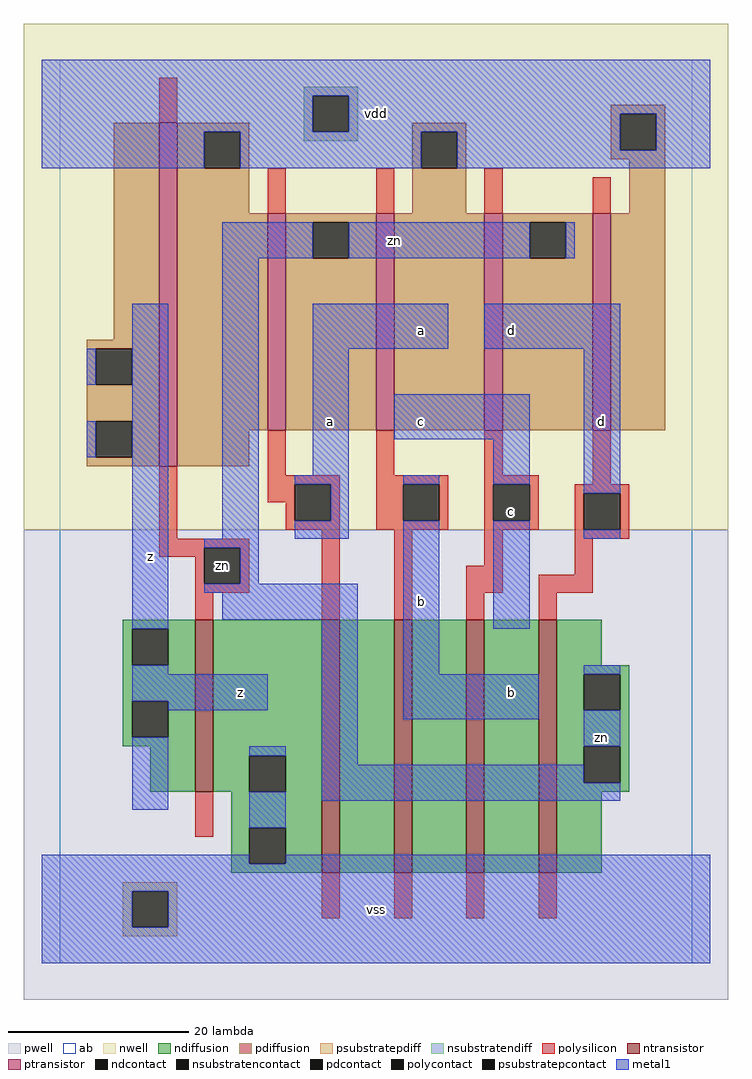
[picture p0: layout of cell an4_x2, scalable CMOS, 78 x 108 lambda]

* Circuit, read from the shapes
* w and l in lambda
.subckt an4_x2 a b c d vdd vss z zn
M1 vss zn z vss nfet w=19 l=2
M2 n1 a vss vss nfet w=28 l=2
M3 n2 b n1 vss nfet w=28 l=2
M4 n3 c n2 vss nfet w=28 l=2
M5 zn d n3 vss nfet w=28 l=2
M6 vdd zn z vdd pfet w=38 l=2
M7 zn a vdd vdd pfet w=24 l=2
M8 vdd b zn vdd pfet w=24 l=2
M9 zn c vdd vdd pfet w=24 l=2
M10 vdd d zn vdd pfet w=24 l=2
.ends

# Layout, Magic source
magic
tech scmos
<< ab >>
rect 0 0 70 100
<< pwell >>
rect -4 -4 74 48
<< nwell >>
rect -4 48 74 104
<< polysilicon >>
rect 11 93 13 98
rect 23 83 25 88
rect 35 83 37 88
rect 47 83 49 88
rect 59 83 61 87
rect 11 47 13 55
rect 23 54 25 59
rect 35 54 37 59
rect 47 54 49 59
rect 23 53 31 54
rect 23 51 26 53
rect 25 49 26 51
rect 30 49 31 53
rect 25 48 31 49
rect 35 53 43 54
rect 35 49 38 53
rect 42 49 43 53
rect 35 48 43 49
rect 47 53 53 54
rect 59 53 61 59
rect 47 49 48 53
rect 52 49 53 53
rect 47 48 53 49
rect 57 52 63 53
rect 57 48 58 52
rect 62 48 63 52
rect 11 46 21 47
rect 11 45 16 46
rect 15 42 16 45
rect 20 42 21 46
rect 15 41 21 42
rect 15 38 17 41
rect 29 38 31 48
rect 37 38 39 48
rect 47 44 49 48
rect 45 41 49 44
rect 57 47 63 48
rect 57 43 59 47
rect 53 41 59 43
rect 45 38 47 41
rect 53 38 55 41
rect 15 14 17 19
rect 29 5 31 10
rect 37 5 39 10
rect 45 5 47 10
rect 53 5 55 10
<< ndiffusion >>
rect 7 37 15 38
rect 7 33 8 37
rect 12 33 15 37
rect 7 29 15 33
rect 7 25 8 29
rect 12 25 15 29
rect 7 24 15 25
rect 10 19 15 24
rect 17 23 29 38
rect 17 19 21 23
rect 25 19 29 23
rect 19 15 29 19
rect 19 11 21 15
rect 25 11 29 15
rect 19 10 29 11
rect 31 10 37 38
rect 39 10 45 38
rect 47 10 53 38
rect 55 33 60 38
rect 55 32 63 33
rect 55 28 58 32
rect 62 28 63 32
rect 55 24 63 28
rect 55 20 58 24
rect 62 20 63 24
rect 55 19 63 20
rect 55 10 60 19
<< pdiffusion >>
rect 6 69 11 93
rect 3 68 11 69
rect 3 64 4 68
rect 8 64 11 68
rect 3 60 11 64
rect 3 56 4 60
rect 8 56 11 60
rect 3 55 11 56
rect 13 92 21 93
rect 13 88 16 92
rect 20 88 21 92
rect 61 94 67 95
rect 39 92 45 93
rect 39 88 40 92
rect 44 88 45 92
rect 61 90 62 94
rect 66 90 67 94
rect 61 89 67 90
rect 13 83 21 88
rect 39 83 45 88
rect 63 83 67 89
rect 13 59 23 83
rect 25 82 35 83
rect 25 78 28 82
rect 32 78 35 82
rect 25 59 35 78
rect 37 59 47 83
rect 49 82 59 83
rect 49 78 52 82
rect 56 78 59 82
rect 49 59 59 78
rect 61 59 67 83
rect 13 55 21 59
<< metal1 >>
rect -2 96 72 100
rect -2 92 28 96
rect 32 94 72 96
rect 32 92 62 94
rect -2 88 16 92
rect 20 88 40 92
rect 44 90 62 92
rect 66 90 72 94
rect 44 88 72 90
rect 18 78 28 82
rect 32 78 52 82
rect 56 78 57 82
rect 3 64 4 68
rect 3 56 4 60
rect 8 37 12 73
rect 18 47 22 78
rect 28 68 43 73
rect 47 68 62 73
rect 28 54 32 68
rect 37 58 52 63
rect 26 53 32 54
rect 30 49 32 53
rect 26 47 32 49
rect 38 53 42 54
rect 16 46 22 47
rect 20 42 22 46
rect 16 41 33 42
rect 18 38 33 41
rect 8 32 12 33
rect 8 29 23 32
rect 12 28 23 29
rect 8 17 12 25
rect 21 23 25 24
rect 21 15 25 19
rect 29 22 33 38
rect 38 32 42 49
rect 48 53 52 58
rect 48 37 52 49
rect 58 52 62 68
rect 58 47 62 48
rect 58 32 62 33
rect 38 27 53 32
rect 58 24 62 28
rect 29 20 58 22
rect 29 18 62 20
rect -2 11 21 12
rect 25 11 72 12
rect -2 8 72 11
rect -2 4 8 8
rect 12 4 72 8
rect -2 0 72 4
<< ntransistor >>
rect 15 19 17 38
rect 29 10 31 38
rect 37 10 39 38
rect 45 10 47 38
rect 53 10 55 38
<< ptransistor >>
rect 11 55 13 93
rect 23 59 25 83
rect 35 59 37 83
rect 47 59 49 83
rect 59 59 61 83
<< polycontact >>
rect 26 49 30 53
rect 38 49 42 53
rect 48 49 52 53
rect 58 48 62 52
rect 16 42 20 46
<< ndcontact >>
rect 8 33 12 37
rect 8 25 12 29
rect 21 19 25 23
rect 21 11 25 15
rect 58 28 62 32
rect 58 20 62 24
<< pdcontact >>
rect 4 64 8 68
rect 4 56 8 60
rect 16 88 20 92
rect 40 88 44 92
rect 62 90 66 94
rect 28 78 32 82
rect 52 78 56 82
<< psubstratepcontact >>
rect 8 4 12 8
<< nsubstratencontact >>
rect 28 92 32 96
<< psubstratepdiff >>
rect 7 8 13 9
rect 7 4 8 8
rect 12 4 13 8
rect 7 3 13 4
<< nsubstratendiff >>
rect 27 96 33 97
rect 27 92 28 96
rect 32 92 33 96
rect 27 91 33 92
<< labels >>
rlabel polycontact 18 44 18 44 6 zn
rlabel metal1 20 30 20 30 6 z
rlabel polycontact 19 44 19 44 6 zn
rlabel metal1 10 45 10 45 6 z
rlabel metal1 35 6 35 6 6 vss
rlabel metal1 30 60 30 60 6 a
rlabel metal1 35 94 35 94 6 vdd
rlabel metal1 50 30 50 30 6 b
rlabel metal1 40 40 40 40 6 b
rlabel polycontact 50 50 50 50 6 c
rlabel metal1 40 60 40 60 6 c
rlabel metal1 40 70 40 70 6 a
rlabel metal1 50 70 50 70 6 d
rlabel metal1 60 25 60 25 6 zn
rlabel metal1 60 60 60 60 6 d
rlabel metal1 37 80 37 80 6 zn
<< end >>
